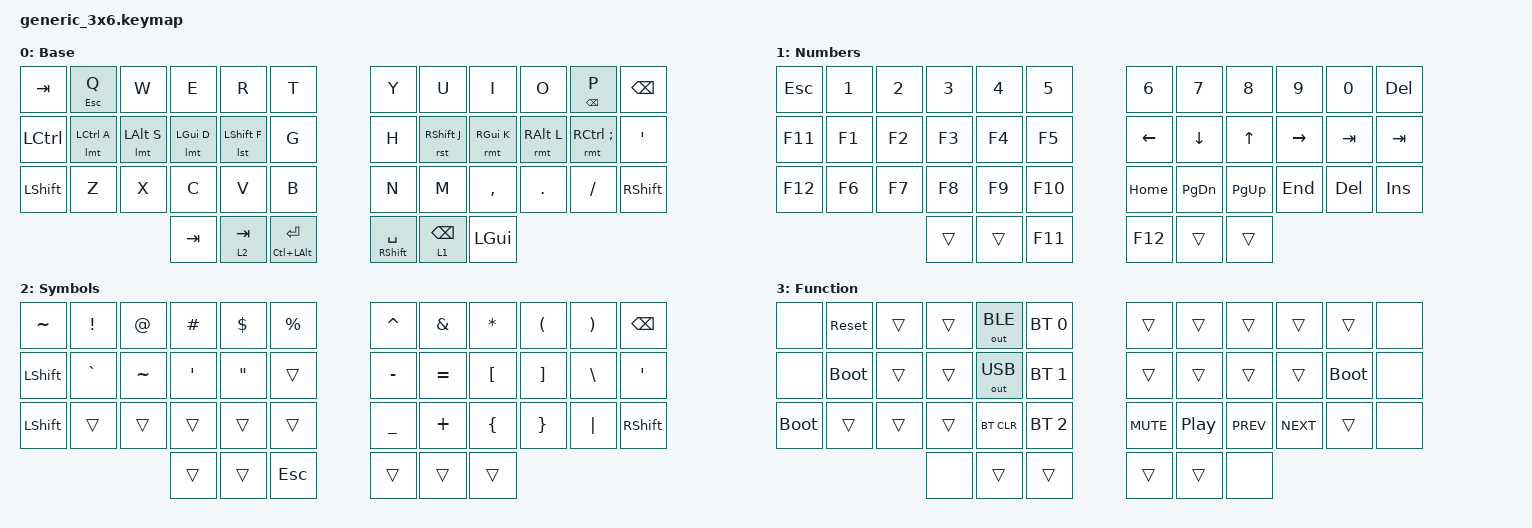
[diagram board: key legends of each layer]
/*
 * Generic 3x6 Keymap
 * 
 * AUTO-SYNCED from generic_3x5.keymap
 * Core keys are synced automatically - outer columns defined here
 * 
 * Edit generic_3x5.keymap, then run: scripts\sync_3x5_to_3x6.bat
 */

#include <behaviors.dtsi>
#include <dt-bindings/zmk/bt.h>
#include <dt-bindings/zmk/ext_power.h>
#include <dt-bindings/zmk/keys.h>
#include <dt-bindings/zmk/outputs.h>

/ {
    behaviors {
        esc_q: escape_q {
            compatible = "zmk,behavior-hold-tap";
            #binding-cells = <2>;
            flavor = "tap-preferred";
            tapping-term-ms = <200>;
            quick-tap-ms = <150>;
            bindings = <&kp>, <&kp>;
        };
        
        bspc_p: backspace_p {
            compatible = "zmk,behavior-hold-tap";
            #binding-cells = <2>;
            flavor = "tap-preferred";
            tapping-term-ms = <200>;
            quick-tap-ms = <150>;
            bindings = <&kp>, <&kp>;
        };
    };

    combos {
        compatible = "zmk,combos";

        combo_unlock {
            timeout-ms = <50>;
            key-positions = <0 1>;
            bindings = <&studio_unlock>;
            layers = <0>;
        };

        combo_fnc {
            timeout-ms = <200>;
            key-positions = <36 41>;
            bindings = <&mo 3>;
        };
    };

    keymap {
        compatible = "zmk,keymap";

        base_layer {
            display-name = "Base";
            bindings = <
&kp TAB  &esc_q ESC Q  &kp W        &kp E        &kp R         &kp T                                           &kp Y       &kp U         &kp I        &kp O        &bspc_p BSPC P  &kp BSPC
&kp LCTRL  &lmt LCTRL A  &lmt LALT S  &lmt LGUI D  &lst LSHFT F  &kp G                                           &kp H       &rst RSHFT J  &rmt RGUI K  &rmt RALT L  &rmt RCTRL SEMI  &kp SQT
&kp LSHFT  &kp Z         &kp X        &kp C        &kp V         &kp B                                           &kp N       &kp M         &kp COMMA    &kp DOT      &kp SLASH  &kp RSHFT
                                       &kp TAB  &lt 2 TAB  &mt LC(LALT) RET    &mt RSHFT SPACE  &lt 1 BSPC  &kp LGUI
            >;
        };

        num_layer {
            display-name = "Numbers";
            bindings = <
&kp ESC  &kp N1  &kp N2  &kp N3  &kp N4  &kp N5                       &kp N6    &kp N7     &kp N8     &kp N9     &kp N0  &kp DEL
&kp F11  &kp F1  &kp F2  &kp F3  &kp F4  &kp F5                       &kp LEFT  &kp DOWN   &kp UP     &kp RIGHT  &kp TAB  &kp TAB
&kp F12  &kp F6  &kp F7  &kp F8  &kp F9  &kp F10                      &kp HOME  &kp PG_DN  &kp PG_UP  &kp END    &kp DEL  &kp INS
                                       &trans  &trans   &kp F11    &kp F12  &trans  &trans
            >;
        };

        sym_layer {
            display-name = "Symbols";
            bindings = <
&kp TILDE  &kp EXCL   &kp AT     &kp HASH  &kp DLLR  &kp PRCNT                     &kp CARET  &kp AMPS   &kp ASTRK  &kp LPAR  &kp RPAR  &kp BSPC
&kp LSHFT  &kp GRAVE  &kp TILDE  &kp SQT   &kp DQT   &trans                        &kp MINUS  &kp EQUAL  &kp LBKT   &kp RBKT  &kp BSLH  &kp SQT
&kp LSHFT  &trans     &trans     &trans    &trans    &trans                        &kp UNDER  &kp PLUS   &kp LBRC   &kp RBRC  &kp PIPE  &kp RSHFT
                                       &trans  &trans     &kp ESC    &trans  &trans  &trans
            >;
        };

        fnc_layer {
            display-name = "Function";
            bindings = <
&none  &sys_reset   &trans  &trans  &out OUT_BLE  &bt BT_SEL 0    &trans      &trans    &trans      &trans      &trans  &none
&none  &bootloader  &trans  &trans  &out OUT_USB  &bt BT_SEL 1    &trans      &trans    &trans      &trans      &bootloader  &none
&bootloader  &trans       &trans  &trans  &bt BT_CLR    &bt BT_SEL 2    &kp C_MUTE  &kp C_PP  &kp C_PREV  &kp C_NEXT  &trans  &none
                                       &none  &trans        &trans    &trans  &trans  &none
            >;
        };
    };
};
